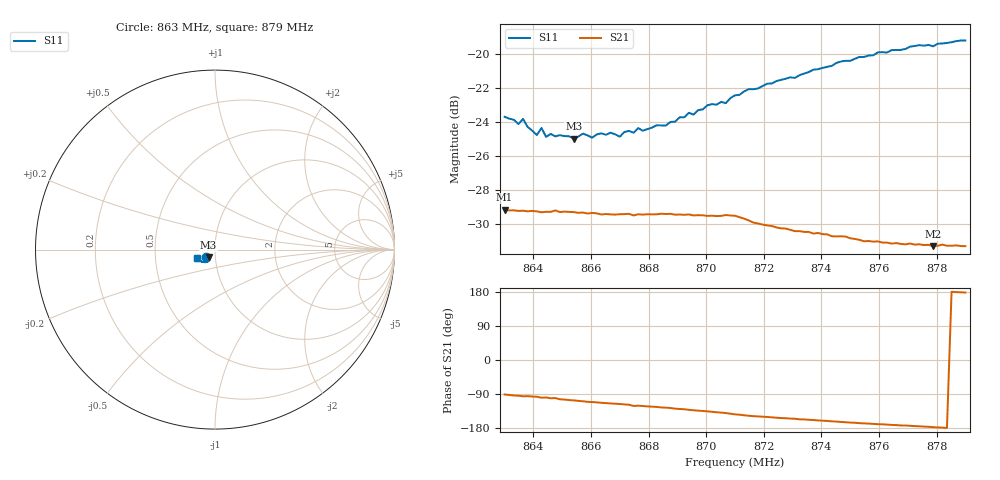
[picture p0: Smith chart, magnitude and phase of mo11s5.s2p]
# HZ S RI R 50
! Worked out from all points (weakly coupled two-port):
!   101 points, 863 MHz to 879 MHz, reference 50 ohm
!   highest |S21| = -29.14 dB at 863 MHz (marker M1); lowest = -31.3 dB at 877.88 MHz (marker M2)
!   lowest |S11| = -25.0 dB at 865.4 MHz (marker M3), VSWR 1.12, Z = 46.4 - j4.09 ohm
!   |S11| at or under -10 dB: start of sweep to end of sweep
!   S12 and S22 are empty: the file has one direction only
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8.63e8  -0.0487 -0.0438  -0.000585 -0.0349  0 0  0 0
8.6348e8  -0.0462 -0.0419  -0.00261 -0.0345  0 0  0 0
8.6364e8  -0.0477 -0.0436  -0.00346 -0.0345  0 0  0 0
8.6412e8  -0.0398 -0.0421  -0.00419 -0.0343  0 0  0 0
8.6428e8  -0.0427 -0.0432  -0.00567 -0.0339  0 0  0 0
8.6444e8  -0.0383 -0.0425  -0.0053 -0.034  0 0  0 0
8.646e8  -0.0403 -0.0422  -0.00659 -0.0338  0 0  0 0
8.654e8  -0.0356 -0.044  -0.00978 -0.033  0 0  0 0
8.6572e8  -0.0357 -0.0463  -0.0111 -0.0324  0 0  0 0
8.6604e8  -0.0347 -0.0451  -0.0123 -0.0319  0 0  0 0
8.6668e8  -0.034 -0.048  -0.0141 -0.0308  0 0  0 0
8.67e8  -0.0331 -0.0467  -0.0149 -0.0304  0 0  0 0
8.6764e8  -0.0334 -0.0507  -0.0172 -0.0292  0 0  0 0
8.6844e8  -0.0315 -0.0532  -0.0196 -0.0278  0 0  0 0
8.6956e8  -0.0331 -0.0577  -0.0228 -0.0247  0 0  0 0
8.7004e8  -0.0348 -0.0616  -0.0239 -0.0235  0 0  0 0
8.7068e8  -0.0357 -0.0623  -0.0258 -0.0217  0 0  0 0
8.71e8  -0.0389 -0.065  -0.0269 -0.02  0 0  0 0
8.7372e8  -0.0559 -0.0706  -0.0276 -0.011  0 0  0 0
8.7644e8  -0.0819 -0.0623  -0.0274 -0.00421  0 0  0 0
8.7788e8  -0.0913 -0.053  -0.0273 -0.00135  0 0  0 0
8.79e8  -0.1006 -0.0441  -0.0273 0.000957  0 0  0 0
